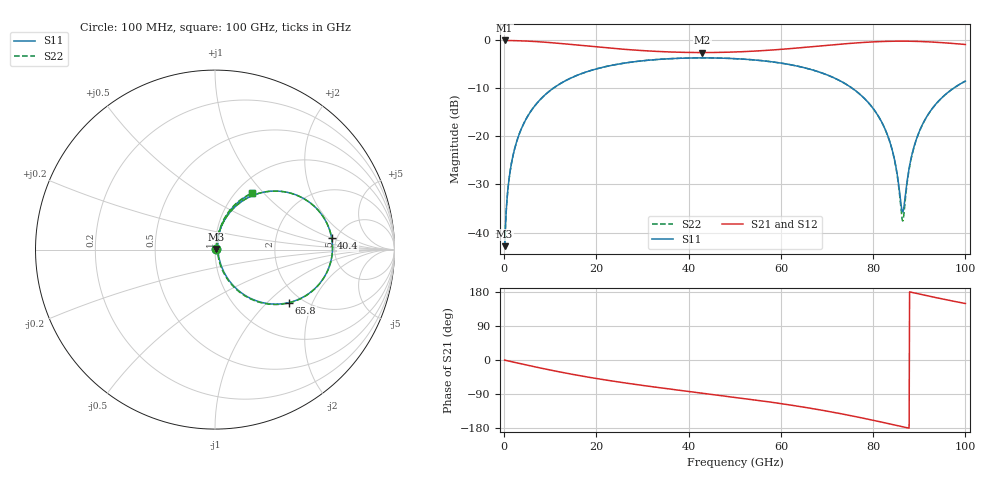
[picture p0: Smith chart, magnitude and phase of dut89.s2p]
! Touchstone file exported from HFSS 2026.1.0
!  File:  C:/ffzhzh/LocalFiles/Ansys_Project_Files/temp_train_RDL_89_1783498927_31944.aedt
!  Generated:  04:23:59 PM Jul  8, 2026
!  Design:  RDL
!  Project:  temp_train_RDL_89_1783498927_31944
! Variables:
!  h_bsmrdl = 2um
!  h_ox = 20um
!  h_rdl = 5um
!  h_sub = 80um
!  h_tmrdl = 2.08um
!  h_tsv = 80um
!  h_via = 3um
!  l_bsmrdl = 300um
!  l_sub = 1070.17um
!  l_tmrdl = 670.17um
!  m_sub = 200um
!  pitch = 52.44um
!  r_tsv = 6um
!  s_tmrdl = 10um
!  w_bsmrdl = 18um
!  w_sub = 500um
!  w_tmrdl = 18.68um
!  x_tsv_center1 = 679.51um
!  x_tsv_center2 = 997.51um
!  x_tsv_center3 = 1686.36um
!  x_tsv_center4 = 2004.36um
!  x_tsv_center5 = 2693.21um
!  x_tsv_center6 = 3011.21um
# GHz S MA R 50.000000
! Terminal data exported
! Port[1] = TM_RDL1_1_T1
! Port[2] = TM_RDL1_1_T2
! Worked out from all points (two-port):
!   1000 points, 100 MHz to 100 GHz, reference 50 ohm
!   highest |S21| = -0.06 dB at 100 MHz (marker M1); lowest = -2.6 dB at 43 GHz (marker M2)
!   |S21| within 3 dB of the highest: start of sweep to end of sweep
!   lowest |S11| = -42.8 dB at 100 MHz (marker M3), VSWR 1.01, Z = 50.6 + j0.35 ohm
!   |S11| at or under -10 dB: start of sweep to 10.64 GHz; 75.48 GHz to 97.41 GHz (21.93 GHz wide, 25.4 % of centre)
!   |S22| runs from -42.8 to -3.7 dB; largest |S21 - S12| = 1.7e-14
!   S11 on the Smith chart (normalised r, x): 100 MHz: 1.01, +0.01; 40.4 GHz: 4.52, +1.03; 65.8 GHz: 1.72, -1.36; 100 GHz: 1.18, +0.86
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0.1  0.007219 28.6  0.9937 -0.3  0.9937 -0.3  0.007219 28.6
! Gamma 0 0 0 0
! Port Impedance 50 0 50 0
0.9  0.03094 73.7  0.9921 -2.5  0.9921 -2.5  0.03094 73.7
1.6  0.05301 77.0  0.9907 -4.4  0.9907 -4.4  0.05301 77.0
4.2  0.1345 74.8  0.9823 -11.5  0.9823 -11.5  0.1345 74.8
9.2  0.2791 63.5  0.9505 -24.5  0.9505 -24.5  0.2791 63.5
16.8  0.4498 46.3  0.8814 -42.2  0.8814 -42.2  0.4498 46.3
33.4  0.6314 16.5  0.7633 -72.6  0.7633 -72.6  0.6314 16.4
40.4  0.6532 5.8  0.7453 -83.6  0.7453 -83.6  0.6532 5.6
43  0.6549 1.9  0.7439 -87.5  0.7439 -87.5  0.655 1.7
50.1  0.6426 -8.9  0.7543 -98.5  0.7543 -98.5  0.6427 -9.0
65.8  0.5069 -35.6  0.8473 -126.1  0.8473 -126.1  0.507 -35.9
66.7  0.4932 -37.3  0.8549 -127.9  0.8549 -127.9  0.4933 -37.7
77.4  0.2669 -59.8  0.9444 -152.4  0.9444 -152.4  0.267 -60.5
80.9  0.169 -66.7  0.9649 -161.4  0.9649 -161.4  0.1689 -67.8
83.4  0.09445 -68.8  0.9738 -168.1  0.9738 -168.1  0.09416 -70.8
84.8  0.05242 -64.4  0.9764 -171.9  0.9764 -171.9  0.05172 -67.8
86  0.02056 -33.0  0.9772 -175.1  0.9772 -175.1  0.01827 -39.6
86.4  0.01635 3.3  0.9771 -176.2  0.9771 -176.2  0.01317 2.3
88.4  0.06427 73.1  0.9746 178.4  0.9746 178.4  0.06334 75.8
90.6  0.1302 74.9  0.9676 172.5  0.9676 172.5  0.1297 76.2
94.5  0.2415 68.2  0.946 162.4  0.946 162.4  0.2411 68.9
100  0.3757 56.4  0.9023 149.0  0.9023 149.0  0.3754 56.8
